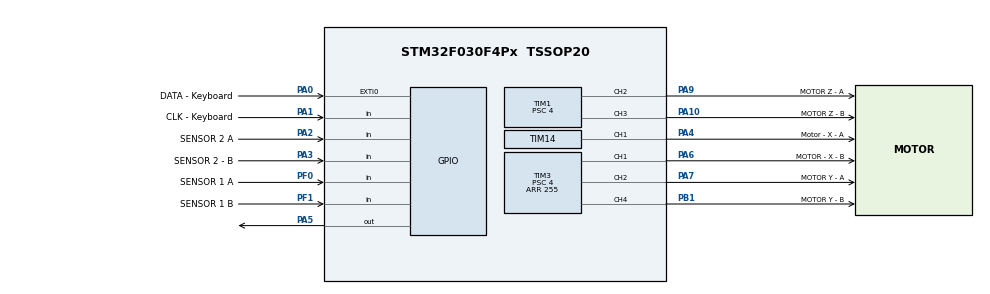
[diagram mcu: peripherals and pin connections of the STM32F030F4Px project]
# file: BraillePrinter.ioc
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Mcu.Family=STM32F0
Mcu.Name=STM32F030F4Px
Mcu.Package=TSSOP20
NVIC.EXTI0_1_IRQn=true\:0\:0\:false\:false\:true\:true
PA0.GPIO_Label=DATA - Keyboard
PA0.GPIO_PuPd=GPIO_PULLUP
PA0.Signal=GPXTI0
PA1.GPIO_Label=CLK - Keyboard
PA1.GPIO_PuPd=GPIO_PULLUP
PA1.Signal=GPIO_Input
PA10.GPIO_Label=MOTOR Z - B
PA10.Signal=S_TIM1_CH3
PA13.Mode=Serial_Wire
PA13.Signal=SYS_SWDIO
PA14.Mode=Serial_Wire
PA14.Signal=SYS_SWCLK
PA2.GPIO_Label=SENSOR 2 A
PA2.Signal=GPIO_Input
PA3.GPIO_Label=SENSOR 2 - B
PA3.Signal=GPIO_Input
PA4.GPIO_Label=Motor - X - A
PA4.Signal=S_TIM14_CH1
PA5.Signal=GPIO_Output
PA6.GPIO_Label=MOTOR - X - B
PA6.Signal=S_TIM3_CH1
PA7.GPIO_Label=MOTOR Y - A
PA7.Signal=S_TIM3_CH2
PA9.GPIO_Label=MOTOR Z - A
PA9.Signal=S_TIM1_CH2
PB1.GPIO_Label=MOTOR Y - B
PB1.Signal=S_TIM3_CH4
PF0-OSC_IN.GPIO_Label=SENSOR 1 A
PF0-OSC_IN.Signal=GPIO_Input
PF1-OSC_OUT.GPIO_Label=SENSOR 1 B
PF1-OSC_OUT.Signal=GPIO_Input
ProjectManager.HeapSize=0x200
ProjectManager.StackSize=0x400
ProjectManager.TargetToolchain=TrueSTUDIO
SH.S_TIM14_CH1.0=TIM14_CH1,PWM Generation1 CH1
SH.S_TIM1_CH2.0=TIM1_CH2,PWM Generation2 CH2
SH.S_TIM1_CH3.0=TIM1_CH3,PWM Generation3 CH3
SH.S_TIM3_CH1.0=TIM3_CH1,PWM Generation1 CH1
SH.S_TIM3_CH2.0=TIM3_CH2,PWM Generation2 CH2
SH.S_TIM3_CH4.0=TIM3_CH4,PWM Generation4 CH4
TIM1.Channel-PWM\ Generation2\ CH2=TIM_CHANNEL_2
TIM1.Channel-PWM\ Generation3\ CH3=TIM_CHANNEL_3
TIM1.Period=255
TIM1.Prescaler=4
TIM14.Channel=TIM_CHANNEL_1
TIM14.Period=255
TIM14.Prescaler=4
TIM3.Channel-PWM\ Generation1\ CH1=TIM_CHANNEL_1
TIM3.Channel-PWM\ Generation2\ CH2=TIM_CHANNEL_2
TIM3.Channel-PWM\ Generation4\ CH4=TIM_CHANNEL_4
TIM3.Period=255
TIM3.Prescaler=4
VP_TIM14_VS_ClockSourceINT.Mode=Enable_Timer
board=custom

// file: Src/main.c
/**
 ******************************************************************************
 * @file           : main.c
 * @brief          : Main program body
 ******************************************************************************
 ** This notice applies to any and all portions of this file
 * that are not between comment pairs USER CODE BEGIN and
 * USER CODE END. Other portions of this file, whether
 * inserted by the user or by software development tools
 * are owned by their respective copyright owners.
 *
 * COPYRIGHT(c) 2018 STMicroelectronics
 *
 * Redistribution and use in source and binary forms, with or without modification,
 * are permitted provided that the following conditions are met:
 *   1. Redistributions of source code must retain the above copyright notice,
 *      this list of conditions and the following disclaimer.
 *   2. Redistributions in binary form must reproduce the above copyright notice,
 *      this list of conditions and the following disclaimer in the documentation
 *      and/or other materials provided with the distribution.
 *   3. Neither the name of STMicroelectronics nor the names of its contributors
 *      may be used to endorse or promote products derived from this software
 *      without specific prior written permission.
 *
 * THIS SOFTWARE IS PROVIDED BY THE COPYRIGHT HOLDERS AND CONTRIBUTORS "AS IS"
 * AND ANY EXPRESS OR IMPLIED WARRANTIES, INCLUDING, BUT NOT LIMITED TO, THE
 * IMPLIED WARRANTIES OF MERCHANTABILITY AND FITNESS FOR A PARTICULAR PURPOSE ARE
 * DISCLAIMED. IN NO EVENT SHALL THE COPYRIGHT HOLDER OR CONTRIBUTORS BE LIABLE
 * FOR ANY DIRECT, INDIRECT, INCIDENTAL, SPECIAL, EXEMPLARY, OR CONSEQUENTIAL
 * DAMAGES (INCLUDING, BUT NOT LIMITED TO, PROCUREMENT OF SUBSTITUTE GOODS OR
 * SERVICES; LOSS OF USE, DATA, OR PROFITS; OR BUSINESS INTERRUPTION) HOWEVER
 * CAUSED AND ON ANY THEORY OF LIABILITY, WHETHER IN CONTRACT, STRICT LIABILITY,
 * OR TORT (INCLUDING NEGLIGENCE OR OTHERWISE) ARISING IN ANY WAY OUT OF THE USE
 * OF THIS SOFTWARE, EVEN IF ADVISED OF THE POSSIBILITY OF SUCH DAMAGE.
 *
 ******************************************************************************
 */
#include "main.h"
#include "stm32f0xx_hal.h"
#include "tim.h"
#include "gpio.h"

/* USER CODE BEGIN Includes */
#include "PS2Keyboard.h"
#include "brailleMatrix.h"
#include "DCMotors.h"
/* USER CODE END Includes */

/* USER CODE BEGIN PV */
/* Private variables ---------------------------------------------------------*/
#define ENCODER_1_A_PORT           GPIOF
#define ENCODER_1_A_PIN            GPIO_PIN_0

#define ENCODER_1_B_PORT           GPIOF
#define ENCODER_1_B_PIN            GPIO_PIN_1

#define ENCODER_2_A_PORT           GPIOA
#define ENCODER_2_A_PIN            GPIO_PIN_2

#define ENCODER_2_B_PORT           GPIOA
#define ENCODER_2_B_PIN            GPIO_PIN_3

#define MOTORZ_A_PORT			   GPIOA
#define MOTORZ_A_PIN			   GPIO_PIN_9

#define MOTORZ_B_PORT			   GPIOA
#define MOTORZ_B_PIN			   GPIO_PIN_10

#define MAX_CARACTERES 256
#define MAX_LINHAS 27
#define POS_INI 0
#define POS_FIM 4000

char pressedEnter = 1;
char isEnd = 0;

Keyboard_TypeDef keyboard;

MotorControl_t motorX;
MotorControl_t motorY;

MotorControl_Simple_t motorZ;
//unsigned char linhaBraille[MAX_CARACTERES] = {'A','B'};
unsigned char buffer_char[MAX_CARACTERES];
unsigned char buffer_braille[4];

/* USER CODE END PV */

void SystemClock_Config(void);

/* USER CODE BEGIN PFP */
/* Private function prototypes -----------------------------------------------*/
void interruption();

/* USER CODE END PFP */

/* USER CODE BEGIN 0 */
void interruption(){
	ps2interrupt(&keyboard);
}

/* USER CODE END 0 */

int main(void)
{

	/* MCU Configuration----------------------------------------------------------*/

	/* Reset of all peripherals, Initializes the Flash interface and the Systick. */
	HAL_Init();

	/* Configure the system clock */
	SystemClock_Config();

	/* Initialize all configured peripherals */
	MX_GPIO_Init();
	MX_TIM14_Init();
	MX_TIM3_Init();
	MX_TIM1_Init();
	/* USER CODE BEGIN 2 */
	motorBegin(&motorX, ENCODER_1_A_PORT, ENCODER_1_A_PIN, ENCODER_1_B_PORT, ENCODER_1_B_PIN, htim14, htim3, TIM_CHANNEL_1,  TIM_CHANNEL_1);
	motorBegin(&motorY, ENCODER_2_A_PORT, ENCODER_2_A_PIN, ENCODER_2_B_PORT, ENCODER_2_B_PIN, htim3, htim3, TIM_CHANNEL_2,  TIM_CHANNEL_4);

	motorSimpleBegin(&motorZ, MOTORZ_A_PORT, MOTORZ_A_PIN, MOTORZ_B_PORT, MOTORZ_B_PIN);

	keyboardBegin(&keyboard, PS2_DATA_PORT, PS2_DATA_PIN, PS2_IQR_PORT, PS2_IQR_PIN);

	//memset(buffer_braille, 0, sizeof(buffer_braille));

	/* USER CODE END 2 */

	/* Infinite loop */
	/* USER CODE BEGIN WHILE */
	while (1)  {
		/* USER CODE END WHILE */

		/* USER CODE BEGIN 3 */

		/* Faz a leitura do teclado e envia ao buffer_char */
		while(1){
			if(keyboardAvailable(&keyboard)){
				HAL_GPIO_WritePin(GPIOA, GPIO_PIN_5, GPIO_PIN_SET);
				HAL_Delay(50);
				HAL_GPIO_WritePin(GPIOA, GPIO_PIN_5, GPIO_PIN_RESET);
				uint8_t c = keyboardRead(&keyboard);
				if(c == PS2_ENTER){
					pressedEnter = 1;
					HAL_GPIO_WritePin(GPIOA, GPIO_PIN_5, GPIO_PIN_SET);
					break;
				}

				feedBuffer(buffer_char, MAX_CARACTERES, c);
			}
		}

		/* Programa leitura do teclado */
		if(pressedEnter){
			reverse(buffer_char);
			for(int j=0;j<3;j++){
				//Imprime as linhas em braille
				if(j==1){
					//Linhas das matrizes
					for(unsigned short i=strlen((const char*)buffer_char)-1; i>=0; --i){

						// Recebe os pontos da linha para o caractere atual
						fillLineWithBraille(buffer_braille, j,buffer_char[i]);

						// Percorre os 4 bits, no máximo, para cada caractere
						for(int x = 3; x >=0; --x){

							// Passa para a próxima iteração se o não tem ponto para furar
							if(buffer_braille[x] == '\0'){
								en_updateAxis(&motorX, motorX.setPoint + DELTA_COL_LIN);
								continue;
							}else if(buffer_braille[x] == 1){
								motorForward(&motorZ, PIERCE_TIME);
								motorBackward(&motorZ, PIERCE_TIME);
							}

							// Decrementa posição do eixo x, espaçamento entre colunas
							en_updateAxis(&motorX, motorX.setPoint - DELTA_COL_LIN);
						}

						// Decrementa posição do eixo x, espaçamento entre char na horizontal
						en_updateAxis(&motorX, motorX.setPoint - DELTA_CHAR_H);

					}

					// Decrementa posição do eixo y, espaçamento entre linhas
					en_updateAxis(&motorY, motorY.setPoint + DELTA_COL_LIN);
				}else{
					unsigned short i;
					//Linhas das matrizes
					for(i=0; i<strlen((const char*)buffer_char); i++){

						//Recebe os pontos da linha para o caractere atual
						fillLineWithBraille(buffer_braille, j,buffer_char[i]);

						//Percorre os 4 bits, no máximo, para cada caractere
						for(int x = 0; x < 4; ++x){

							if(buffer_braille[x] == '\0'){
								en_updateAxis(&motorX, motorX.setPoint + DELTA_COL_LIN);
								break;
							}else if(buffer_braille[x] == 1){
								motorForward(&motorZ, PIERCE_TIME);
								motorBackward(&motorZ, PIERCE_TIME);
							}

							// Incrementa posição do eixo x, espaçamento entre colunas
							en_updateAxis(&motorX, motorX.setPoint + DELTA_COL_LIN);
						}

						// Incrementa posição do eixo x, espaçamento entre char na horizontal
						en_updateAxis(&motorX, motorX.setPoint + DELTA_CHAR_H);

					}

					// Incrementa posição do eixo y, espaçamento entre linhas
					en_updateAxis(&motorY, motorY.setPoint + DELTA_COL_LIN);
				}
			}

			// Incrementa posição do eixo y, espaçamento entre char na vertical
			en_updateAxis(&motorY, motorY.setPoint + DELTA_CHAR_V - DELTA_COL_LIN);

			// Seta posição eixo x para inicial
			en_updateAxis(&motorX, POS_INI);

			pressedEnter = 0;
		}
		clearBuffer(buffer_char);

	}
	/* USER CODE END 3 */

}

void SystemClock_Config(void)
{

	RCC_OscInitTypeDef RCC_OscInitStruct;
	RCC_ClkInitTypeDef RCC_ClkInitStruct;

	/**Initializes the CPU, AHB and APB busses clocks
	 */
	RCC_OscInitStruct.OscillatorType = RCC_OSCILLATORTYPE_HSI;
	RCC_OscInitStruct.HSIState = RCC_HSI_ON;
	RCC_OscInitStruct.HSICalibrationValue = 16;
	RCC_OscInitStruct.PLL.PLLState = RCC_PLL_NONE;
	if (HAL_RCC_OscConfig(&RCC_OscInitStruct) != HAL_OK)
	{
		_Error_Handler(__FILE__, __LINE__);
	}

	/**Initializes the CPU, AHB and APB busses clocks
	 */
	RCC_ClkInitStruct.ClockType = RCC_CLOCKTYPE_HCLK|RCC_CLOCKTYPE_SYSCLK
			|RCC_CLOCKTYPE_PCLK1;
	RCC_ClkInitStruct.SYSCLKSource = RCC_SYSCLKSOURCE_HSI;
	RCC_ClkInitStruct.AHBCLKDivider = RCC_SYSCLK_DIV1;
	RCC_ClkInitStruct.APB1CLKDivider = RCC_HCLK_DIV1;

	if (HAL_RCC_ClockConfig(&RCC_ClkInitStruct, FLASH_LATENCY_0) != HAL_OK)
	{
		_Error_Handler(__FILE__, __LINE__);
	}

	/**Configure the Systick interrupt time
	 */
	HAL_SYSTICK_Config(HAL_RCC_GetHCLKFreq()/1000);

	/**Configure the Systick
	 */
	HAL_SYSTICK_CLKSourceConfig(SYSTICK_CLKSOURCE_HCLK);

	/* SysTick_IRQn interrupt configuration */
	HAL_NVIC_SetPriority(SysTick_IRQn, 0, 0);
}

void _Error_Handler(char *file, int line)
{
	while(1)
	{
	}
}

/************************ (C) COPYRIGHT STMicroelectronics *****END OF FILE****/
